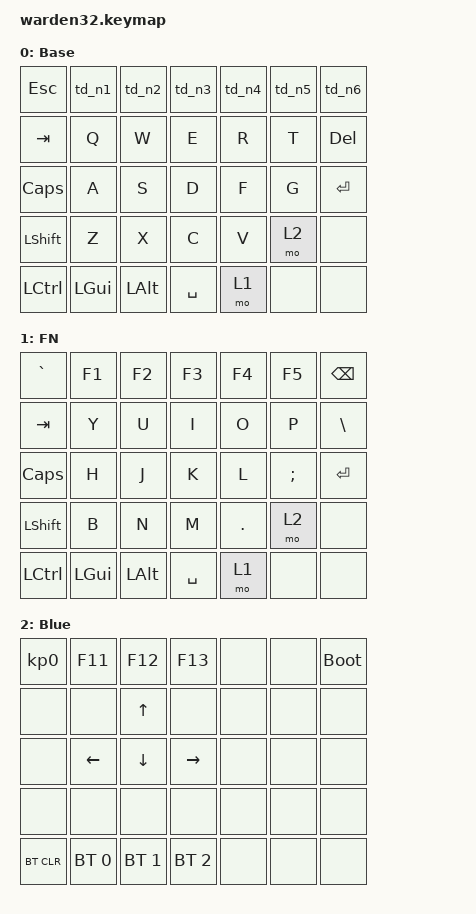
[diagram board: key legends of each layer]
/*
 * Copyright (c) 2020 The ZMK Contributors
 *
 * SPDX-License-Identifier: MIT
 */

#include <behaviors.dtsi>
#include <dt-bindings/zmk/bt.h>
#include <dt-bindings/zmk/keys.h>

/ {
    chosen { zmk,matrix-transform = &dual_1u_transform; };

    behaviors {
        // Tap: 1 | Double-tap: 7
        td_n1: tap_dance_1 {
            compatible = "zmk,behavior-tap-dance";
            #binding-cells = <0>;
            tapping-term-ms = <200>;
            bindings = <&kp N1>, <&kp N7>;
        };

        // Tap: 2 | Double-tap: 8
        td_n2: tap_dance_2 {
            compatible = "zmk,behavior-tap-dance";
            #binding-cells = <0>;
            tapping-term-ms = <200>;
            bindings = <&kp N2>, <&kp N8>;
        };

        // Tap: 3 | Double-tap: 9
        td_n3: tap_dance_3 {
            compatible = "zmk,behavior-tap-dance";
            #binding-cells = <0>;
            tapping-term-ms = <200>;
            bindings = <&kp N3>, <&kp N9>;
        };

        // Tap: 4 | Double-tap: 0
        td_n4: tap_dance_4 {
            compatible = "zmk,behavior-tap-dance";
            #binding-cells = <0>;
            tapping-term-ms = <200>;
            bindings = <&kp N4>, <&kp N0>;
        };

        // Tap: 5 | Double-tap: Minus (-)
        td_n5: tap_dance_5 {
            compatible = "zmk,behavior-tap-dance";
            #binding-cells = <0>;
            tapping-term-ms = <200>;
            bindings = <&kp N5>, <&kp MINUS>;
        };

        // Tap: 6 | Double-tap: Equal (=)
        td_n6: tap_dance_6 {
            compatible = "zmk,behavior-tap-dance";
            #binding-cells = <0>;
            tapping-term-ms = <200>;
            bindings = <&kp N6>, <&kp EQUAL>;
        };
    };

    keymap {
        compatible = "zmk,keymap";

        base {
            display-name = "Base";
            bindings = <
&kp ESC    &td_n1    &td_n2    &td_n3     &td_n4     &td_n5     &td_n6
&kp TAB    &kp Q     &kp W     &kp E      &kp R      &kp T      &kp DEL
&kp CAPS   &kp A     &kp S     &kp D      &kp F      &kp G      &kp RET
&kp LSHFT  &kp Z     &kp X     &kp C      &kp V      &mo 2      &none
&kp LCTRL  &kp LGUI  &kp LALT  &kp SPACE  &mo 1      &none      &none
            >;
        };

        lower {
            display-name = "FN";
            bindings = <
&kp GRAVE  &kp F1    &kp F2    &kp F3     &kp F4     &kp F5     &kp BACKSPACE
&kp TAB    &kp Y     &kp U     &kp I      &kp O      &kp P      &kp BACKSLASH
&kp CAPS   &kp H     &kp J     &kp K      &kp L      &kp SEMI   &kp RET
&kp LSHFT  &kp B     &kp N     &kp M      &kp PERIOD &mo 2      &none
&kp LCTRL  &kp LGUI  &kp LALT  &kp SPACE  &mo 1      &none      &none
            >;
        };

        bluetooth {
            display-name = "Blue";
            bindings = <
&kp KP_N0  &kp F11       &kp F12       &kp F13       &none  &none  &bootloader
&none      &none         &kp UP        &none         &none  &none  &none
&none      &kp LEFT      &kp DOWN      &kp RIGHT     &none  &none  &none
&none      &none         &none         &none         &none  &none  &none
&bt BT_CLR &bt BT_SEL 0  &bt BT_SEL 1  &bt BT_SEL 2  &none  &none  &none
            >;
        };
    };
};
